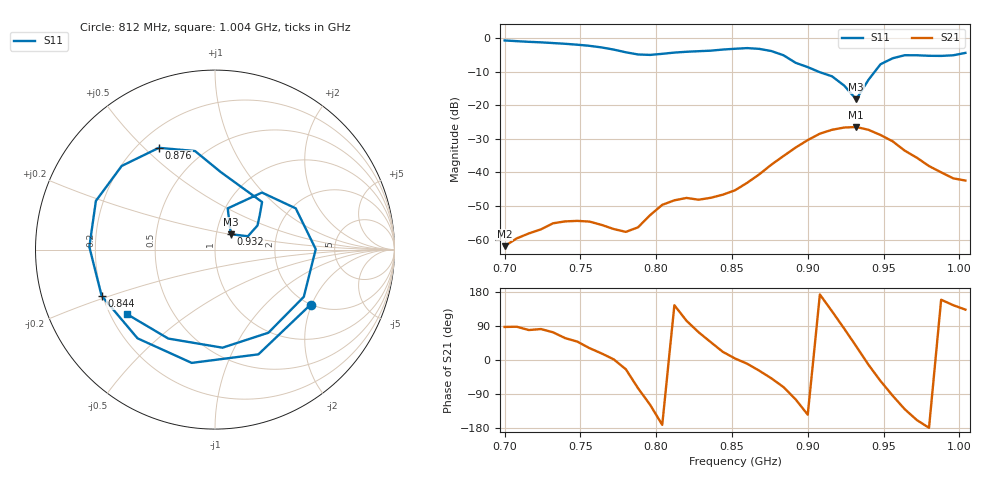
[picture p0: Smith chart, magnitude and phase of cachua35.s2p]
# Hz S RI R 50
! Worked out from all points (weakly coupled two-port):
!   39 points, 700 MHz to 1.004 GHz, reference 50 ohm
!   highest |S21| = -26.44 dB at 932 MHz (marker M1); lowest = -62.0 dB at 700 MHz (marker M2)
!   lowest |S11| = -18.2 dB at 932 MHz (marker M3), VSWR 1.28, Z = 58.7 + j10.2 ohm
!   |S11| at or under -10 dB: 907.5 MHz to 944.1 MHz (36.58 MHz wide, 3.95 % of centre)
!   S12 and S22 are empty: the file has one direction only
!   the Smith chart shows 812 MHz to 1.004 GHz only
!   S11 on the Smith chart (normalised r, x): 812 MHz: 2.00, -1.96; 844 MHz: 0.20, -0.19; 876 MHz: 0.28, +0.55; 932 MHz: 1.17, +0.20; 1.004 GHz: 0.27, -0.31
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7e8  0.766 0.5309  3.86e-05 0.000794  0 0  0 0
7.24e8  0.8346 -0.2579  0.000205 0.0014  0 0  0 0
7.4e8  0.4438 -0.7026  0.000997 0.00157  0 0  0 0
7.56e8  -0.1986 -0.7493  0.00158 0.000961  0 0  0 0
7.72e8  -0.6557 -0.1851  0.00143 4.11e-05  0 0  0 0
7.8e8  -0.5745 0.235  0.00118 -0.00054  0 0  0 0
7.88e8  -0.2188 0.5328  0.000411 -0.00146  0 0  0 0
7.96e8  0.2675 0.5004  -0.00109 -0.00203  0 0  0 0
8.04e8  0.5727 0.1375  -0.00325 -0.000506  0 0  0 0
8.12e8  0.5331 -0.3059  -0.00313 0.00223  0 0  0 0
8.28e8  -0.1298 -0.6312  0.00113 0.00376  0 0  0 0
8.44e8  -0.6319 -0.2569  0.00434 0.00171  0 0  0 0
8.52e8  -0.7002 0.0154  0.00541 0.000387  0 0  0 0
8.76e8  -0.3129 0.5671  0.00869 -0.00978  0 0  0 0
9e8  0.2623 0.2651  -0.0247 -0.0178  0 0  0 0
9.08e8  0.2489 0.1895  -0.0376 0.00473  0 0  0 0
9.32e8  0.0885 0.0858  0.0386 0.028  0 0  0 0
9.4e8  0.0707 0.2296  0.0424 -0.00915  0 0  0 0
9.56e8  0.4499 0.2298  -0.0021 -0.0291  0 0  0 0
9.64e8  0.5613 0.00252  -0.0136 -0.0162  0 0  0 0
9.8e8  0.2973 -0.4632  -0.0125 -0.000216  0 0  0 0
1.004e9  -0.4899 -0.3598  -0.00516 0.00555  0 0  0 0
